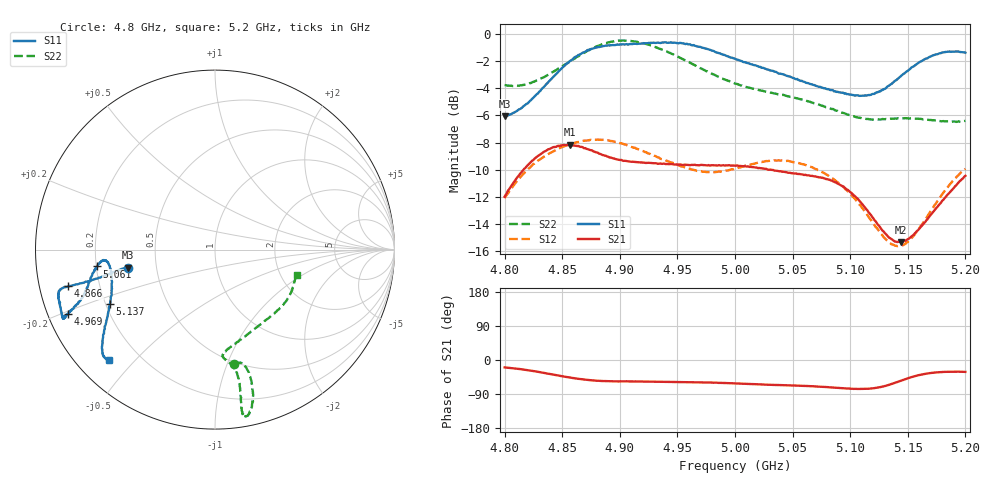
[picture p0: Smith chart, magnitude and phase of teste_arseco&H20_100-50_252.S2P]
! Network Analyzer HP8722D
! Hewlett-Packard
! Data name: Linha & Wilkinson
! Saver's name: Rodrigo Anjos
! Comments: Teste da utilização de aquisição
! continua pelo VNA HP8722D
! Time and date: 6/5/2025 14:40
!  Frequency  S11  S21  S12  S22
# HZ  S  MA R 50
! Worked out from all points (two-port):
!   401 points, 4.8 GHz to 5.2 GHz, reference 50 ohm
!   highest |S21| = -8.16 dB at 4.857 GHz (marker M1); lowest = -15.3 dB at 5.144 GHz (marker M2)
!   |S21| within 3 dB of the highest: 4.806 GHz to 5.092 GHz (286.3 MHz wide, 5.78 % of centre); 5.191773 GHz to end of sweep
!   lowest |S11| = -6.1 dB at 4.8 GHz (marker M3), VSWR 2.98, Z = 17 - j4.56 ohm
!   |S11| at or under -10 dB: nowhere
!   |S22| runs from -6.5 to -0.5 dB; largest |S21 - S12| = 0.62
!   S11 on the Smith chart (normalised r, x): 4.8 GHz: 0.34, -0.09; 4.866 GHz: 0.09, -0.12; 4.969 GHz: 0.06, -0.21; 5.061 GHz: 0.20, -0.07; 5.137 GHz: 0.22, -0.23; 5.2 GHz: 0.09, -0.42
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4.8e9  0.4969 -168.2  0.2517 -19.5  0.2487 -140.9  0.6479 -80.4
4.828e9  0.6005 -167.1  0.353 -30.7  0.3386 -145.0  0.6744 -75.4
4.857e9  0.7956 -165.9  0.3908 -46.4  0.3929 -150.3  0.7926 -74.7
4.866e9  0.8425 -166.0  0.3838 -50.3  0.4019 -151.9  0.8373 -75.3
4.867e9  0.8477 -165.8  0.3839 -50.8  0.4032 -152.0  0.8425 -75.4
4.881e9  0.8951 -165.3  0.365 -54.7  0.4084 -154.5  0.9029 -76.9
4.899e9  0.9115 -162.9  0.3443 -56.6  0.3974 -156.8  0.9444 -79.1
4.915e9  0.9175 -159.6  0.3371 -56.8  0.3775 -157.2  0.9344 -80.4
4.934e9  0.9267 -156.6  0.3329 -57.5  0.3505 -155.7  0.8818 -80.5
4.969e9  0.8954 -156.5  0.3284 -59.0  0.3126 -147.3  0.7526 -79.6
5e9  0.8106 -159.1  0.3274 -61.9  0.3194 -137.2  0.6562 -81.2
5.036e9  0.7231 -165.5  0.3137 -66.0  0.3417 -134.4  0.6012 -85.7
5.061e9  0.6628 -171.9  0.3032 -68.5  0.3297 -136.3  0.5698 -83.9
5.067e9  0.6513 -173.1  0.3005 -69.1  0.323 -136.7  0.5587 -82.6
5.088e9  0.6113 -174.3  0.2838 -73.3  0.2867 -138.7  0.5211 -74.4
5.103e9  0.5952 -171.5  0.2552 -76.3  0.25 -138.7  0.4973 -65.3
5.117e9  0.5953 -164.8  0.2183 -75.5  0.2091 -135.0  0.4842 -55.2
5.134e9  0.646 -154.2  0.1777 -65.2  0.1704 -120.7  0.4868 -43.2
5.137e9  0.661 -152.5  0.1746 -62.2  0.1679 -116.8  0.4878 -41.4
5.144e9  0.6991 -148.7  0.1714 -54.6  0.166 -107.6  0.4881 -37.6
5.172e9  0.8339 -139.1  0.2213 -33.7  0.2297 -81.2  0.4813 -24.6
5.2e9  0.8519 -133.7  0.3004 -31.4  0.3188 -76.9  0.4783 -17.6
